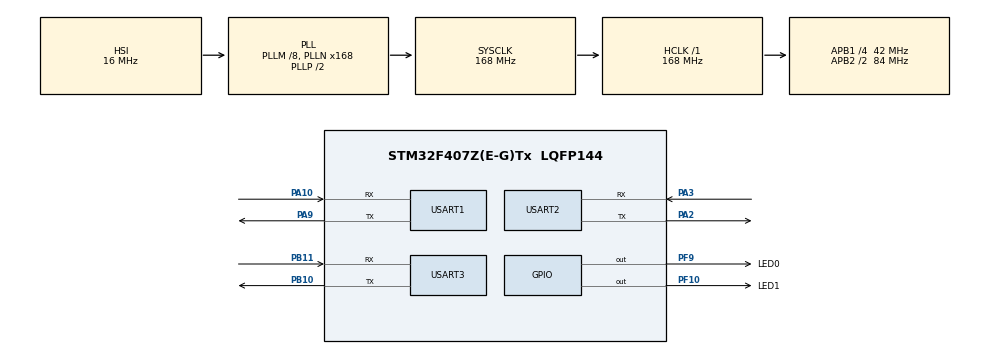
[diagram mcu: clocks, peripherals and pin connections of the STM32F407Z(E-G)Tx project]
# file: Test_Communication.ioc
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Dma.Request0=USART2_RX
Dma.Request1=USART2_TX
Dma.Request2=USART3_RX
Dma.Request3=USART3_TX
Dma.Request4=USART1_RX
Dma.Request5=USART1_TX
Dma.USART1_RX.4.Direction=DMA_PERIPH_TO_MEMORY
Dma.USART1_RX.4.FIFOMode=DMA_FIFOMODE_DISABLE
Dma.USART1_RX.4.Instance=DMA2_Stream2
Dma.USART1_RX.4.MemDataAlignment=DMA_MDATAALIGN_BYTE
Dma.USART1_RX.4.MemInc=DMA_MINC_ENABLE
Dma.USART1_RX.4.Mode=DMA_NORMAL
Dma.USART1_RX.4.PeriphDataAlignment=DMA_PDATAALIGN_BYTE
Dma.USART1_RX.4.PeriphInc=DMA_PINC_DISABLE
Dma.USART1_RX.4.Priority=DMA_PRIORITY_LOW
Dma.USART1_TX.5.Direction=DMA_MEMORY_TO_PERIPH
Dma.USART1_TX.5.FIFOMode=DMA_FIFOMODE_DISABLE
Dma.USART1_TX.5.Instance=DMA2_Stream7
Dma.USART1_TX.5.MemDataAlignment=DMA_MDATAALIGN_BYTE
Dma.USART1_TX.5.MemInc=DMA_MINC_ENABLE
Dma.USART1_TX.5.Mode=DMA_NORMAL
Dma.USART1_TX.5.PeriphDataAlignment=DMA_PDATAALIGN_BYTE
Dma.USART1_TX.5.PeriphInc=DMA_PINC_DISABLE
Dma.USART1_TX.5.Priority=DMA_PRIORITY_LOW
Dma.USART2_RX.0.Direction=DMA_PERIPH_TO_MEMORY
Dma.USART2_RX.0.FIFOMode=DMA_FIFOMODE_DISABLE
Dma.USART2_RX.0.Instance=DMA1_Stream5
Dma.USART2_RX.0.MemDataAlignment=DMA_MDATAALIGN_BYTE
Dma.USART2_RX.0.MemInc=DMA_MINC_ENABLE
Dma.USART2_RX.0.Mode=DMA_NORMAL
Dma.USART2_RX.0.PeriphDataAlignment=DMA_PDATAALIGN_BYTE
Dma.USART2_RX.0.PeriphInc=DMA_PINC_DISABLE
Dma.USART2_RX.0.Priority=DMA_PRIORITY_LOW
Dma.USART2_TX.1.Direction=DMA_MEMORY_TO_PERIPH
Dma.USART2_TX.1.FIFOMode=DMA_FIFOMODE_DISABLE
Dma.USART2_TX.1.Instance=DMA1_Stream6
Dma.USART2_TX.1.MemDataAlignment=DMA_MDATAALIGN_BYTE
Dma.USART2_TX.1.MemInc=DMA_MINC_ENABLE
Dma.USART2_TX.1.Mode=DMA_NORMAL
Dma.USART2_TX.1.PeriphDataAlignment=DMA_PDATAALIGN_BYTE
Dma.USART2_TX.1.PeriphInc=DMA_PINC_DISABLE
Dma.USART2_TX.1.Priority=DMA_PRIORITY_LOW
Dma.USART3_RX.2.Direction=DMA_PERIPH_TO_MEMORY
Dma.USART3_RX.2.FIFOMode=DMA_FIFOMODE_DISABLE
Dma.USART3_RX.2.Instance=DMA1_Stream1
Dma.USART3_RX.2.MemDataAlignment=DMA_MDATAALIGN_BYTE
Dma.USART3_RX.2.MemInc=DMA_MINC_ENABLE
Dma.USART3_RX.2.Mode=DMA_NORMAL
Dma.USART3_RX.2.PeriphDataAlignment=DMA_PDATAALIGN_BYTE
Dma.USART3_RX.2.PeriphInc=DMA_PINC_DISABLE
Dma.USART3_RX.2.Priority=DMA_PRIORITY_LOW
Dma.USART3_TX.3.Direction=DMA_MEMORY_TO_PERIPH
Dma.USART3_TX.3.FIFOMode=DMA_FIFOMODE_DISABLE
Dma.USART3_TX.3.Instance=DMA1_Stream3
Dma.USART3_TX.3.MemDataAlignment=DMA_MDATAALIGN_BYTE
Dma.USART3_TX.3.MemInc=DMA_MINC_ENABLE
Dma.USART3_TX.3.Mode=DMA_NORMAL
Dma.USART3_TX.3.PeriphDataAlignment=DMA_PDATAALIGN_BYTE
Dma.USART3_TX.3.PeriphInc=DMA_PINC_DISABLE
Dma.USART3_TX.3.Priority=DMA_PRIORITY_LOW
Mcu.Family=STM32F4
Mcu.Name=STM32F407Z(E-G)Tx
Mcu.Package=LQFP144
NVIC.DMA1_Stream1_IRQn=true\:0\:0\:false\:false\:true\:false\:true
NVIC.DMA1_Stream3_IRQn=true\:0\:0\:false\:false\:true\:false\:true
NVIC.DMA1_Stream5_IRQn=true\:0\:0\:false\:false\:true\:false\:true
NVIC.DMA1_Stream6_IRQn=true\:0\:0\:false\:false\:true\:false\:true
NVIC.DMA2_Stream2_IRQn=true\:0\:0\:false\:false\:true\:false\:true
NVIC.DMA2_Stream7_IRQn=true\:0\:0\:false\:false\:true\:false\:true
NVIC.PriorityGroup=NVIC_PRIORITYGROUP_1
NVIC.TIM1_BRK_TIM9_IRQn=true\:0\:6\:true\:false\:true\:true\:true
NVIC.TIM1_UP_TIM10_IRQn=true\:0\:0\:false\:false\:true\:false\:true
NVIC.TIM2_IRQn=true\:0\:0\:true\:false\:true\:true\:true
NVIC.TIM3_IRQn=true\:0\:0\:true\:false\:true\:true\:true
NVIC.TIM4_IRQn=true\:0\:0\:true\:false\:true\:true\:true
NVIC.TIM5_IRQn=true\:0\:0\:true\:false\:true\:true\:true
NVIC.TIM6_DAC_IRQn=true\:0\:0\:true\:false\:true\:true\:true
NVIC.TIM7_IRQn=true\:0\:0\:true\:false\:true\:true\:true
NVIC.TimeBase=TIM1_UP_TIM10_IRQn
NVIC.TimeBaseIP=TIM1
NVIC.USART1_IRQn=true\:0\:0\:true\:false\:true\:true\:true
NVIC.USART2_IRQn=true\:0\:0\:true\:false\:true\:true\:true
NVIC.USART3_IRQn=true\:0\:0\:true\:false\:true\:true\:true
PA10.Mode=Asynchronous
PA10.Signal=USART1_RX
PA2.Mode=Asynchronous
PA2.Signal=USART2_TX
PA3.Mode=Asynchronous
PA3.Signal=USART2_RX
PA9.Mode=Asynchronous
PA9.Signal=USART1_TX
PB10.Mode=Asynchronous
PB10.Signal=USART3_TX
PB11.Mode=Asynchronous
PB11.Signal=USART3_RX
PC14-OSC32_IN.Mode=LSE-External-Oscillator
PC14-OSC32_IN.Signal=RCC_OSC32_IN
PC15-OSC32_OUT.Mode=LSE-External-Oscillator
PC15-OSC32_OUT.Signal=RCC_OSC32_OUT
PF10.GPIO_Label=LED1
PF10.Signal=GPIO_Output
PF9.GPIO_Label=LED0
PF9.Signal=GPIO_Output
PH0-OSC_IN.Mode=HSE-External-Oscillator
PH0-OSC_IN.Signal=RCC_OSC_IN
PH1-OSC_OUT.Mode=HSE-External-Oscillator
PH1-OSC_OUT.Signal=RCC_OSC_OUT
ProjectManager.HeapSize=0x200
ProjectManager.StackSize=0x400
ProjectManager.TargetToolchain=MDK-ARM V5.27
RCC.48MHZClocksFreq_Value=84000000
RCC.AHBFreq_Value=168000000
RCC.APB1CLKDivider=RCC_HCLK_DIV4
RCC.APB1Freq_Value=42000000
RCC.APB1TimFreq_Value=84000000
RCC.APB2CLKDivider=RCC_HCLK_DIV2
RCC.APB2Freq_Value=84000000
RCC.APB2TimFreq_Value=168000000
RCC.CortexFreq_Value=168000000
RCC.HCLKFreq_Value=168000000
RCC.HSE_VALUE=8000000
RCC.HSI_VALUE=16000000
RCC.PLLM=8
RCC.PLLN=168
RCC.SYSCLKFreq_VALUE=168000000
RCC.SYSCLKSource=RCC_SYSCLKSOURCE_PLLCLK
RCC.VCOOutputFreq_Value=336000000
TIM2.Period=10000-1
TIM2.Prescaler=840-1
TIM3.Period=2000-1
TIM3.Prescaler=8400-1
TIM4.Period=10000-1
TIM4.Prescaler=8400-1
TIM5.Period=10000-1
TIM5.Prescaler=8400-1
TIM6.Period=50000-1
TIM6.Prescaler=8400-1
TIM7.Period=10000-1
TIM7.Prescaler=8400-1
TIM9.Period=5000-1
TIM9.Prescaler=840-1
USART1.VirtualMode=VM_ASYNC
USART2.VirtualMode=VM_ASYNC
USART3.VirtualMode=VM_ASYNC
VP_SYS_VS_tim1.Mode=TIM1
VP_TIM2_VS_ClockSourceINT.Mode=Internal
VP_TIM3_VS_ClockSourceINT.Mode=Internal
VP_TIM4_VS_ClockSourceINT.Mode=Internal
VP_TIM5_VS_ClockSourceINT.Mode=Internal
VP_TIM6_VS_ClockSourceINT.Mode=Enable_Timer
VP_TIM7_VS_ClockSourceINT.Mode=Enable_Timer
VP_TIM9_VS_ClockSourceINT.Mode=Internal
board=custom

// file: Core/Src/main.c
/* USER CODE BEGIN Header */
/**
  ******************************************************************************
  * @file           : main.c
  * @brief          : Main program body
  ******************************************************************************
  * @attention
  *
  * <h2><center>&copy; Copyright (c) 2021 STMicroelectronics.
  * All rights reserved.</center></h2>
  *
  * This software component is licensed by ST under BSD 3-Clause license,
  * the "License"; You may not use this file except in compliance with the
  * License. You may obtain a copy of the License at:
  *                        opensource.org/licenses/BSD-3-Clause
  *
  ******************************************************************************
  */
/* USER CODE END Header */
#include "main.h"

/* USER CODE BEGIN Includes */

#include "stdio.h"

/* USER CODE END Includes */

TIM_HandleTypeDef htim2;
TIM_HandleTypeDef htim3;
TIM_HandleTypeDef htim4;
TIM_HandleTypeDef htim5;
TIM_HandleTypeDef htim6;
TIM_HandleTypeDef htim7;
TIM_HandleTypeDef htim9;

UART_HandleTypeDef huart1;
UART_HandleTypeDef huart2;
UART_HandleTypeDef huart3;
DMA_HandleTypeDef hdma_usart1_rx;
DMA_HandleTypeDef hdma_usart1_tx;
DMA_HandleTypeDef hdma_usart2_rx;
DMA_HandleTypeDef hdma_usart2_tx;
DMA_HandleTypeDef hdma_usart3_rx;
DMA_HandleTypeDef hdma_usart3_tx;

void SystemClock_Config(void);
static void MX_GPIO_Init(void);
static void MX_DMA_Init(void);
static void MX_USART2_UART_Init(void);
static void MX_USART3_UART_Init(void);
static void MX_TIM2_Init(void);
static void MX_TIM3_Init(void);
static void MX_TIM4_Init(void);
static void MX_TIM5_Init(void);
static void MX_TIM6_Init(void);
static void MX_TIM7_Init(void);
static void MX_TIM9_Init(void);
static void MX_USART1_UART_Init(void);

/* USER CODE BEGIN 0 */

uint8_t UART1_Rx_Buffer[UART1_RX_BUF_SIZE];  /* USART接收数据存储空间 */
uint8_t UART1_RX_FLAG;
uint8_t UART1_RX_LEN;  /* 接收数据帧大小 */

uint8_t UART2_Rx_Buffer[UART1_RX_BUF_SIZE];  /* USART接收数据存储空间 */
uint8_t UART2_RX_FLAG;
uint8_t UART2_RX_LEN;  /* 接收数据帧大小 */

uint8_t UART3_Rx_Buffer[UART1_RX_BUF_SIZE];  /* USART接收数据存储空间 */
uint8_t UART3_RX_FLAG;
uint8_t UART3_RX_LEN;  /* 接收数据帧大小 */

uint8_t MSG1;
uint8_t MSG2;
uint8_t MSG3;
uint8_t MSG4;
uint8_t MSG5;
uint8_t MSG6;
uint8_t MSG101;
uint8_t MSG102;
uint8_t MSG103;
uint8_t MSG104;
uint8_t MSG105;
uint8_t MSG106;
uint8_t MSG107;
uint8_t MSG108;
uint8_t MSG109;
uint8_t MSG110;
uint8_t MSG111;
uint8_t MSG112;
uint8_t MSG113;
uint8_t MSG114;
uint8_t MSG115;
uint16_t MSG116;
uint8_t MSG117;
uint8_t MSG118;
uint8_t MSG119;
uint8_t MSG120;
uint8_t Rate;
uint8_t Rate1;

static const uint8_t FX_BUFF[56] =
{
	0X4a,0X01,0X01,0Xff,0X38,0X00,0X6f,0X48,0X40,
  0X1c,0X3a,0Xde,0X17,0X05,0X6f,0Xc4,0X00,0X00,
  0X78,0Xfd,0X2b,0Xfc,0X0a,0X90,0X46,0Xc2,0X77,
  0X5d,0X46,0Xc0,0Xf4,0Xfe,0Xee,0X31,0Xfa,0X7f,
  0Xfd,0X36,0Xfc,0Xfc,0Xff,0X3e,0X00,0X76,0X00,
  0Xfd,0Xff,0Xfd,0Xff,0X01,0X00,0X85,0Xff,0X06,
  0X01,0X01
};
static const uint8_t YK_BUFF[15] =
{
  0X4A,0X02,0XFF,0X01,0X0F,0X00,0X64,0X64,0X64,
  0X11,0X64,0X64,0X64,0X00,0XC4
};
static const uint8_t ZT_BUFF[24] =
{
  0X4A,0X03,0XFF,0X01,0X18,0X00,0X21,0X01,0X50,
	0X20,0X10,0X03,0X60,0X70,0X08,0X01,0X05,0X01,
	0X2A,0X2A,0X28,0X02,0X00,0X07
};
static const uint8_t HX_BUFF[19] =
{
  0X4A,0X04,0XFF,0X01,0X13,0X00,0X30,0X04,0X01,
	0X20,0X00,0X01,0X20,0X30,0X00,0X00,0X04,0X01,
	0X66
};

static const uint8_t HD_BUFF[22] =
{
  0X4A,0X05,0XFF,0X01,0X16,0X00,0X6F,0X4D,0X40,
	0X1C,0X1F,0X2D,0X18,0X05,0XDC,0X05,0XF4,0X01,
	0X70,0X17,0X03,0X46
};
static const uint8_t DC_BUFF[55] =
{
  0X4A,0X06,0XFF,0X01,0X37,0X00,0X96,0X00,0XC8,
	0X00,0X03,0X00,0X5A,0X00,0X11,0X00,0X08,0X00,
	0XB5,0X03,0X64,0X19,0XE8,0X03,0XC8,0X00,0X11,
	0X00,0X00,0X00,0XFA,0X03,0X2C,0X01,0X64,0X00,
	0XE8,0X03,0XE8,0X03,0XAC,0X0D,0X20,0X4E,0X00,
	0X00,0X00,0X00,0X01,0X04,0X62,0X01,0X01,0X04,
	0X4C
};

int fputc(int ch,FILE *f)
{
	 uint8_t temp[1]={ch};
	 HAL_UART_Transmit(&huart1,temp,1,2);
	 return ch;
}

/* USER CODE END 0 */

int main(void)
{

  /* MCU Configuration--------------------------------------------------------*/

  /* Reset of all peripherals, Initializes the Flash interface and the Systick. */
  HAL_Init();

  /* Configure the system clock */
  SystemClock_Config();

  /* Initialize all configured peripherals */
  MX_GPIO_Init();
  MX_DMA_Init();
  MX_USART2_UART_Init();
  MX_USART3_UART_Init();
  MX_TIM2_Init();
  MX_TIM3_Init();
  MX_TIM4_Init();
  MX_TIM5_Init();
  MX_TIM6_Init();
  MX_TIM7_Init();
  MX_TIM9_Init();
  MX_USART1_UART_Init();
  /* USER CODE BEGIN 2 */

		/* 启动定时器中断 */

	HAL_TIM_Base_Start_IT(&htim2);
//	HAL_Delay(337);
	HAL_TIM_Base_Start_IT(&htim3);
//	HAL_Delay(737);
	HAL_TIM_Base_Start_IT(&htim4);
//	HAL_Delay(1179);
	HAL_TIM_Base_Start_IT(&htim5);
//	HAL_Delay(1797);

	HAL_TIM_Base_Start_IT(&htim6);
//		HAL_Delay(177);
//	HAL_TIM_Base_Start_IT(&htim7);

	HAL_TIM_Base_Start_IT(&htim9);

  /* USER CODE END 2 */

  /* Infinite loop */
  while (1)
  {

    /* USER CODE BEGIN 3 */

			if (UART3_RX_FLAG == 5)
			{
			  HAL_UART_Transmit(&huart3, (uint8_t *)HD_BUFF, sizeof(HD_BUFF),0xffff);
		    UART3_RX_FLAG = 0;
			}
			if (UART3_RX_FLAG == 6)
			{
			  HAL_UART_Transmit(&huart3, (uint8_t *)DC_BUFF, sizeof(DC_BUFF),0xffff);
		    UART3_RX_FLAG = 0;
			}

    if (Rate == 1)
		{
		  HAL_GPIO_WritePin(LED0_GPIO_Port, LED0_Pin, GPIO_PIN_SET);
      HAL_GPIO_WritePin(LED1_GPIO_Port, LED1_Pin, GPIO_PIN_RESET);
		}
		else
		{
	    HAL_GPIO_WritePin(LED0_GPIO_Port, LED0_Pin, GPIO_PIN_RESET);
      HAL_GPIO_WritePin(LED1_GPIO_Port, LED1_Pin, GPIO_PIN_SET);
		}

  }
  /* USER CODE END 3 */
}

void SystemClock_Config(void)
{
  RCC_OscInitTypeDef RCC_OscInitStruct = {0};
  RCC_ClkInitTypeDef RCC_ClkInitStruct = {0};

  /** Configure the main internal regulator output voltage
  */
  __HAL_RCC_PWR_CLK_ENABLE();
  __HAL_PWR_VOLTAGESCALING_CONFIG(PWR_REGULATOR_VOLTAGE_SCALE1);
  /** Initializes the RCC Oscillators according to the specified parameters
  * in the RCC_OscInitTypeDef structure.
  */
  RCC_OscInitStruct.OscillatorType = RCC_OSCILLATORTYPE_HSI;
  RCC_OscInitStruct.HSIState = RCC_HSI_ON;
  RCC_OscInitStruct.HSICalibrationValue = RCC_HSICALIBRATION_DEFAULT;
  RCC_OscInitStruct.PLL.PLLState = RCC_PLL_ON;
  RCC_OscInitStruct.PLL.PLLSource = RCC_PLLSOURCE_HSI;
  RCC_OscInitStruct.PLL.PLLM = 8;
  RCC_OscInitStruct.PLL.PLLN = 168;
  RCC_OscInitStruct.PLL.PLLP = RCC_PLLP_DIV2;
  RCC_OscInitStruct.PLL.PLLQ = 4;
  if (HAL_RCC_OscConfig(&RCC_OscInitStruct) != HAL_OK)
  {
    Error_Handler();
  }
  /** Initializes the CPU, AHB and APB buses clocks
  */
  RCC_ClkInitStruct.ClockType = RCC_CLOCKTYPE_HCLK|RCC_CLOCKTYPE_SYSCLK
                              |RCC_CLOCKTYPE_PCLK1|RCC_CLOCKTYPE_PCLK2;
  RCC_ClkInitStruct.SYSCLKSource = RCC_SYSCLKSOURCE_PLLCLK;
  RCC_ClkInitStruct.AHBCLKDivider = RCC_SYSCLK_DIV1;
  RCC_ClkInitStruct.APB1CLKDivider = RCC_HCLK_DIV4;
  RCC_ClkInitStruct.APB2CLKDivider = RCC_HCLK_DIV2;

  if (HAL_RCC_ClockConfig(&RCC_ClkInitStruct, FLASH_LATENCY_5) != HAL_OK)
  {
    Error_Handler();
  }
}

static void MX_TIM2_Init(void)
{

  TIM_ClockConfigTypeDef sClockSourceConfig = {0};
  TIM_MasterConfigTypeDef sMasterConfig = {0};

  htim2.Instance = TIM2;
  htim2.Init.Prescaler = 840-1;
  htim2.Init.CounterMode = TIM_COUNTERMODE_UP;
  htim2.Init.Period = 10000-1;
  htim2.Init.ClockDivision = TIM_CLOCKDIVISION_DIV1;
  htim2.Init.AutoReloadPreload = TIM_AUTORELOAD_PRELOAD_DISABLE;
  if (HAL_TIM_Base_Init(&htim2) != HAL_OK)
  {
    Error_Handler();
  }
  sClockSourceConfig.ClockSource = TIM_CLOCKSOURCE_INTERNAL;
  if (HAL_TIM_ConfigClockSource(&htim2, &sClockSourceConfig) != HAL_OK)
  {
    Error_Handler();
  }
  sMasterConfig.MasterOutputTrigger = TIM_TRGO_RESET;
  sMasterConfig.MasterSlaveMode = TIM_MASTERSLAVEMODE_DISABLE;
  if (HAL_TIMEx_MasterConfigSynchronization(&htim2, &sMasterConfig) != HAL_OK)
  {
    Error_Handler();
  }

}

static void MX_TIM3_Init(void)
{

  TIM_ClockConfigTypeDef sClockSourceConfig = {0};
  TIM_MasterConfigTypeDef sMasterConfig = {0};

  htim3.Instance = TIM3;
  htim3.Init.Prescaler = 8400-1;
  htim3.Init.CounterMode = TIM_COUNTERMODE_UP;
  htim3.Init.Period = 2000-1;
  htim3.Init.ClockDivision = TIM_CLOCKDIVISION_DIV1;
  htim3.Init.AutoReloadPreload = TIM_AUTORELOAD_PRELOAD_DISABLE;
  if (HAL_TIM_Base_Init(&htim3) != HAL_OK)
  {
    Error_Handler();
  }
  sClockSourceConfig.ClockSource = TIM_CLOCKSOURCE_INTERNAL;
  if (HAL_TIM_ConfigClockSource(&htim3, &sClockSourceConfig) != HAL_OK)
  {
    Error_Handler();
  }
  sMasterConfig.MasterOutputTrigger = TIM_TRGO_RESET;
  sMasterConfig.MasterSlaveMode = TIM_MASTERSLAVEMODE_DISABLE;
  if (HAL_TIMEx_MasterConfigSynchronization(&htim3, &sMasterConfig) != HAL_OK)
  {
    Error_Handler();
  }

}

static void MX_TIM4_Init(void)
{

  TIM_ClockConfigTypeDef sClockSourceConfig = {0};
  TIM_MasterConfigTypeDef sMasterConfig = {0};

  htim4.Instance = TIM4;
  htim4.Init.Prescaler = 8400-1;
  htim4.Init.CounterMode = TIM_COUNTERMODE_UP;
  htim4.Init.Period = 10000-1;
  htim4.Init.ClockDivision = TIM_CLOCKDIVISION_DIV1;
  htim4.Init.AutoReloadPreload = TIM_AUTORELOAD_PRELOAD_DISABLE;
  if (HAL_TIM_Base_Init(&htim4) != HAL_OK)
  {
    Error_Handler();
  }
  sClockSourceConfig.ClockSource = TIM_CLOCKSOURCE_INTERNAL;
  if (HAL_TIM_ConfigClockSource(&htim4, &sClockSourceConfig) != HAL_OK)
  {
    Error_Handler();
  }
  sMasterConfig.MasterOutputTrigger = TIM_TRGO_RESET;
  sMasterConfig.MasterSlaveMode = TIM_MASTERSLAVEMODE_DISABLE;
  if (HAL_TIMEx_MasterConfigSynchronization(&htim4, &sMasterConfig) != HAL_OK)
  {
    Error_Handler();
  }

}

static void MX_TIM5_Init(void)
{

  TIM_ClockConfigTypeDef sClockSourceConfig = {0};
  TIM_MasterConfigTypeDef sMasterConfig = {0};

  htim5.Instance = TIM5;
  htim5.Init.Prescaler = 8400-1;
  htim5.Init.CounterMode = TIM_COUNTERMODE_UP;
  htim5.Init.Period = 10000-1;
  htim5.Init.ClockDivision = TIM_CLOCKDIVISION_DIV1;
  htim5.Init.AutoReloadPreload = TIM_AUTORELOAD_PRELOAD_DISABLE;
  if (HAL_TIM_Base_Init(&htim5) != HAL_OK)
  {
    Error_Handler();
  }
  sClockSourceConfig.ClockSource = TIM_CLOCKSOURCE_INTERNAL;
  if (HAL_TIM_ConfigClockSource(&htim5, &sClockSourceConfig) != HAL_OK)
  {
    Error_Handler();
  }
  sMasterConfig.MasterOutputTrigger = TIM_TRGO_RESET;
  sMasterConfig.MasterSlaveMode = TIM_MASTERSLAVEMODE_DISABLE;
  if (HAL_TIMEx_MasterConfigSynchronization(&htim5, &sMasterConfig) != HAL_OK)
  {
    Error_Handler();
  }

}

static void MX_TIM6_Init(void)
{

  TIM_MasterConfigTypeDef sMasterConfig = {0};

  htim6.Instance = TIM6;
  htim6.Init.Prescaler = 8400-1;
  htim6.Init.CounterMode = TIM_COUNTERMODE_UP;
  htim6.Init.Period = 10000-1;
  htim6.Init.AutoReloadPreload = TIM_AUTORELOAD_PRELOAD_DISABLE;
  if (HAL_TIM_Base_Init(&htim6) != HAL_OK)
  {
    Error_Handler();
  }
  sMasterConfig.MasterOutputTrigger = TIM_TRGO_RESET;
  sMasterConfig.MasterSlaveMode = TIM_MASTERSLAVEMODE_DISABLE;
  if (HAL_TIMEx_MasterConfigSynchronization(&htim6, &sMasterConfig) != HAL_OK)
  {
    Error_Handler();
  }

}

static void MX_TIM7_Init(void)
{

  TIM_MasterConfigTypeDef sMasterConfig = {0};

  htim7.Instance = TIM7;
  htim7.Init.Prescaler = 840-1;
  htim7.Init.CounterMode = TIM_COUNTERMODE_UP;
  htim7.Init.Period = 10000-1;
  htim7.Init.AutoReloadPreload = TIM_AUTORELOAD_PRELOAD_DISABLE;
  if (HAL_TIM_Base_Init(&htim7) != HAL_OK)
  {
    Error_Handler();
  }
  sMasterConfig.MasterOutputTrigger = TIM_TRGO_RESET;
  sMasterConfig.MasterSlaveMode = TIM_MASTERSLAVEMODE_DISABLE;
  if (HAL_TIMEx_MasterConfigSynchronization(&htim7, &sMasterConfig) != HAL_OK)
  {
    Error_Handler();
  }

}

static void MX_TIM9_Init(void)
{

  TIM_ClockConfigTypeDef sClockSourceConfig = {0};

  htim9.Instance = TIM9;
  htim9.Init.Prescaler = 840-1;
  htim9.Init.CounterMode = TIM_COUNTERMODE_UP;
  htim9.Init.Period = 5000-1;
  htim9.Init.ClockDivision = TIM_CLOCKDIVISION_DIV1;
  htim9.Init.AutoReloadPreload = TIM_AUTORELOAD_PRELOAD_DISABLE;
  if (HAL_TIM_Base_Init(&htim9) != HAL_OK)
  {
    Error_Handler();
  }
  sClockSourceConfig.ClockSource = TIM_CLOCKSOURCE_INTERNAL;
  if (HAL_TIM_ConfigClockSource(&htim9, &sClockSourceConfig) != HAL_OK)
  {
    Error_Handler();
  }

}

static void MX_USART1_UART_Init(void)
{

  huart1.Instance = USART1;
  huart1.Init.BaudRate = 115200;
  huart1.Init.WordLength = UART_WORDLENGTH_8B;
  huart1.Init.StopBits = UART_STOPBITS_1;
  huart1.Init.Parity = UART_PARITY_NONE;
  huart1.Init.Mode = UART_MODE_TX_RX;
  huart1.Init.HwFlowCtl = UART_HWCONTROL_NONE;
  huart1.Init.OverSampling = UART_OVERSAMPLING_16;
  if (HAL_UART_Init(&huart1) != HAL_OK)
  {
    Error_Handler();
  }
  /* USER CODE BEGIN USART1_Init 2 */

	  __HAL_UART_ENABLE_IT(&huart1, UART_IT_IDLE);	 /* 使能串口空闲(IDLE)中断 */
	  HAL_UART_Receive_DMA(&huart1,(uint8_t *)UART1_Rx_Buffer,sizeof(UART1_Rx_Buffer));  /* 打开DMA接收，数据存入UART1_Rx_Buffer数据中 */

  /* USER CODE END USART1_Init 2 */

}

static void MX_USART2_UART_Init(void)
{

  huart2.Instance = USART2;
  huart2.Init.BaudRate = 115200;
  huart2.Init.WordLength = UART_WORDLENGTH_8B;
  huart2.Init.StopBits = UART_STOPBITS_1;
  huart2.Init.Parity = UART_PARITY_NONE;
  huart2.Init.Mode = UART_MODE_TX_RX;
  huart2.Init.HwFlowCtl = UART_HWCONTROL_NONE;
  huart2.Init.OverSampling = UART_OVERSAMPLING_16;
  if (HAL_UART_Init(&huart2) != HAL_OK)
  {
    Error_Handler();
  }
  /* USER CODE BEGIN USART2_Init 2 */

	  __HAL_UART_ENABLE_IT(&huart2, UART_IT_IDLE);  /* 使能串口空闲(IDLE)中断 */
	  HAL_UART_Receive_DMA(&huart2,(uint8_t *)UART2_Rx_Buffer,sizeof(UART2_Rx_Buffer)); 	/* 打开DMA接收，数据存入UART2_Rx_Buffer数据中 */

  /* USER CODE END USART2_Init 2 */

}

static void MX_USART3_UART_Init(void)
{

  huart3.Instance = USART3;
  huart3.Init.BaudRate = 115200;
  huart3.Init.WordLength = UART_WORDLENGTH_8B;
  huart3.Init.StopBits = UART_STOPBITS_1;
  huart3.Init.Parity = UART_PARITY_NONE;
  huart3.Init.Mode = UART_MODE_TX_RX;
  huart3.Init.HwFlowCtl = UART_HWCONTROL_NONE;
  huart3.Init.OverSampling = UART_OVERSAMPLING_16;
  if (HAL_UART_Init(&huart3) != HAL_OK)
  {
    Error_Handler();
  }
  /* USER CODE BEGIN USART3_Init 2 */

    __HAL_UART_ENABLE_IT(&huart3, UART_IT_IDLE);  /* 使能串口3空闲(IDLE)中断 */
	  HAL_UART_Receive_DMA(&huart3,(uint8_t *)UART3_Rx_Buffer,sizeof(UART3_Rx_Buffer)); 	/* 打开DMA接收，数据存入UART3_Rx_Buffer数据中 */

  /* USER CODE END USART3_Init 2 */

}

static void MX_DMA_Init(void)
{

  /* DMA controller clock enable */
  __HAL_RCC_DMA1_CLK_ENABLE();
  __HAL_RCC_DMA2_CLK_ENABLE();

  /* DMA interrupt init */
  /* DMA1_Stream1_IRQn interrupt configuration */
  HAL_NVIC_SetPriority(DMA1_Stream1_IRQn, 0, 0);
  HAL_NVIC_EnableIRQ(DMA1_Stream1_IRQn);
  /* DMA1_Stream3_IRQn interrupt configuration */
  HAL_NVIC_SetPriority(DMA1_Stream3_IRQn, 0, 0);
  HAL_NVIC_EnableIRQ(DMA1_Stream3_IRQn);
  /* DMA1_Stream5_IRQn interrupt configuration */
  HAL_NVIC_SetPriority(DMA1_Stream5_IRQn, 0, 0);
  HAL_NVIC_EnableIRQ(DMA1_Stream5_IRQn);
  /* DMA1_Stream6_IRQn interrupt configuration */
  HAL_NVIC_SetPriority(DMA1_Stream6_IRQn, 0, 0);
  HAL_NVIC_EnableIRQ(DMA1_Stream6_IRQn);
  /* DMA2_Stream2_IRQn interrupt configuration */
  HAL_NVIC_SetPriority(DMA2_Stream2_IRQn, 0, 0);
  HAL_NVIC_EnableIRQ(DMA2_Stream2_IRQn);
  /* DMA2_Stream7_IRQn interrupt configuration */
  HAL_NVIC_SetPriority(DMA2_Stream7_IRQn, 0, 0);
  HAL_NVIC_EnableIRQ(DMA2_Stream7_IRQn);

}

static void MX_GPIO_Init(void)
{
  GPIO_InitTypeDef GPIO_InitStruct = {0};

  /* GPIO Ports Clock Enable */
  __HAL_RCC_GPIOC_CLK_ENABLE();
  __HAL_RCC_GPIOF_CLK_ENABLE();
  __HAL_RCC_GPIOH_CLK_ENABLE();
  __HAL_RCC_GPIOA_CLK_ENABLE();
  __HAL_RCC_GPIOB_CLK_ENABLE();

  /*Configure GPIO pin Output Level */
  HAL_GPIO_WritePin(GPIOF, LED0_Pin|LED1_Pin, GPIO_PIN_RESET);

  /*Configure GPIO pins : LED0_Pin LED1_Pin */
  GPIO_InitStruct.Pin = LED0_Pin|LED1_Pin;
  GPIO_InitStruct.Mode = GPIO_MODE_OUTPUT_PP;
  GPIO_InitStruct.Pull = GPIO_NOPULL;
  GPIO_InitStruct.Speed = GPIO_SPEED_FREQ_LOW;
  HAL_GPIO_Init(GPIOF, &GPIO_InitStruct);

}

 /**
  * @brief  Period elapsed callback in non blocking mode
  * @note   This function is called  when TIM1 interrupt took place, inside
  * HAL_TIM_IRQHandler(). It makes a direct call to HAL_IncTick() to increment
  * a global variable "uwTick" used as application time base.
  * @param  htim : TIM handle
  * @retval None
  */
void HAL_TIM_PeriodElapsedCallback(TIM_HandleTypeDef *htim)
{
  if (htim->Instance == TIM1) {
    HAL_IncTick();
  }
  /* USER CODE BEGIN Callback 1 */

	 if (htim == (&htim2))              //10HZ定时器
	{
		HAL_UART_Transmit(&huart3,(uint8_t *)FX_BUFF,sizeof(FX_BUFF),0xffff);
		//HAL_UART_Transmit_DMA(&huart2, (uint8_t *)FX_BUFF, sizeof(FX_BUFF));
  }

  if(htim == (&htim3))               //5HZ定时器
	{
		HAL_UART_Transmit(&huart3,(uint8_t *)YK_BUFF,sizeof(YK_BUFF),0xffff);
		//HAL_UART_Transmit_DMA(&huart2, (uint8_t *)YK_BUFF, sizeof(YK_BUFF));
  }

	if(htim == (&htim4))               //1HZ定时器
	{

		HAL_UART_Transmit(&huart3,(uint8_t *)ZT_BUFF,sizeof(ZT_BUFF),0xffff);
		//HAL_UART_Transmit_DMA(&huart3, (uint8_t *)ZT_BUFF, sizeof(ZT_BUFF));
	}

	 if (htim == (&htim5))              //1HZ定时器
	{
		//HAL_UART_Transmit(&huart3,(uint8_t *)HX_BUFF,sizeof(HX_BUFF),0xffff);
		HAL_UART_Transmit_DMA(&huart3, (uint8_t *)HX_BUFF, sizeof(HX_BUFF));
  }

  if(htim == (&htim6))               //1HZ定时器
	{
		Rate1 ++;
		if (Rate == 1)
		{
			Rate = 1;
			Rate = 0;
		}
		else
		{
		  Rate = 1;
		}
		 if (Rate1 == 10)
		{
		  //printf("MSG116:%d\r\n",MSG116);
		  MSG116 = 0;
			Rate1 = 0;
		}
  }

	if(htim == (&htim9))               //20HZ定时器
	{

	}

  /* USER CODE END Callback 1 */
}

void Error_Handler(void)
{
  __disable_irq();
  while (1)
  {
  }
}

/************************ (C) COPYRIGHT STMicroelectronics *****END OF FILE****/
